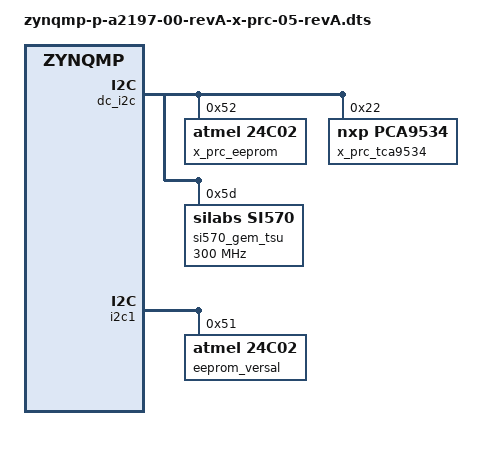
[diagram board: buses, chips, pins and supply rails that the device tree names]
// SPDX-License-Identifier: GPL-2.0
/*
 * dts file for Xilinx ZynqMP System Controller X-PRC-05 revA (SE5)
 *
 * (C) Copyright 2019, Xilinx, Inc.
 *
 * Michal Simek <michal.simek@xilinx.com>
 */

/dts-v1/;
/plugin/;

/{
	compatible = "xlnx,zynqmp-x-prc-05-revA", "xlnx,zynqmp-x-prc-05";

	fragment@0 {
		target = <&dc_i2c>;

		__overlay__ {
			#address-cells = <1>;
			#size-cells = <0>;

			x_prc_eeprom: eeprom@52 { /* u120 */
				compatible = "atmel,24c02";
				reg = <0x52>;
			};

			x_prc_tca9534: gpio@22 { /* u121 tca9534 */
				compatible = "nxp,pca9534";
				reg = <0x22>;
				gpio-controller; /* IRQ not connected */
				#gpio-cells = <2>;
				gpio-line-names = "sw4_1", "sw4_2", "sw4_3", "sw4_4",
						  "", "", "", "";
				gtr_sel0 {
					gpio-hog;
					gpios = <0 0>;
					input; /* FIXME add meaning */
					line-name = "sw4_1";
				};
				gtr_sel1 {
					gpio-hog;
					gpios = <1 0>;
					input; /* FIXME add meaning */
					line-name = "sw4_2";
				};
				gtr_sel2 {
					gpio-hog;
					gpios = <2 0>;
					input; /* FIXME add meaning */
					line-name = "sw4_3";
				};
				gtr_sel3 {
					gpio-hog;
					gpios = <3 0>;
					input; /* FIXME add meaning */
					line-name = "sw4_4";
				};
			};

			si570_gem_tsu: clock-generator@5d { /* u164 */
				#clock-cells = <0>;
				compatible = "silabs,si570";
				reg = <0x5d>;
				temperature-stability = <50>;
				factory-fout = <300000000>; /* FIXME */
				clock-frequency = <300000000>;
				clock-output-names = "si570_gem_tsu_clk";
			};
		};
	};

	fragment@1 {
		target = <&i2c1>;
		__overlay__ {
			#address-cells = <1>;
			#size-cells = <0>;

			eeprom_versal: eeprom@51 { /* u153 */
				compatible = "atmel,24c02";
				reg = <0x51>;
			};
		};
	};
};
